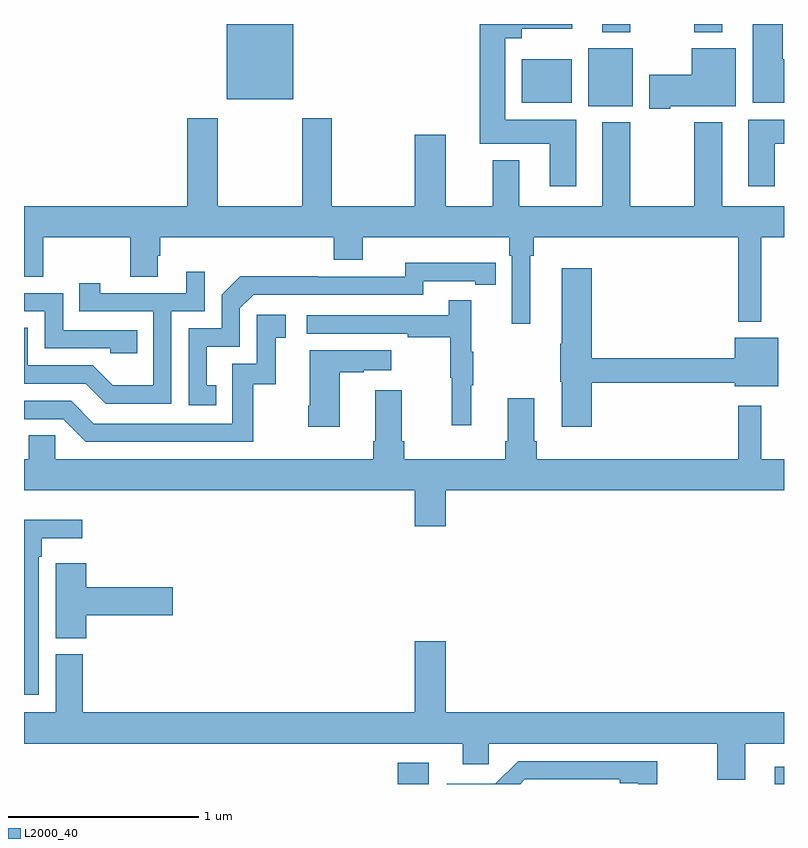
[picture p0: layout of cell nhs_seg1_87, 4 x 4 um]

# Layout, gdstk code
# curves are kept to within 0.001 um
import gdstk
lib = gdstk.Library(unit=1e-6, precision=1e-09)
def R(c, l, rs):  # rectangles x0, y0, x1, y1
    for r in rs: c.add(gdstk.rectangle(r[:2], r[2:], *l))
def P(c, l, *ps):  # polygons
    for p in ps: c.add(gdstk.Polygon(p, *l))
L2000_40 = (2000, 40)

nhs_seg1_87 = lib.new_cell('nhs_seg1_87')
R(nhs_seg1_87, L2000_40, [(116.966,538.199,117.13,538.312), (118.952,538.199,119,538.291), (117.971,541.766,118.204,542.071), (117.62,541.784,117.883,542.014), (116.066,541.802,116.416,542.199), (118.043,542.156,118.191,542.199), (118.528,542.156,118.675,542.199)])
P(nhs_seg1_87, L2000_40, [(117.907,541.696),(117.532,541.696),(117.532,542.123),(117.619,542.123),(117.619,542.174),(117.886,542.174),(117.886,542.199),(117.398,542.199),(117.398,541.568),(117.767,541.568),(117.767,541.344),(117.907,541.344)],
  [(119,542.014),(118.993,542.014),(118.993,542.199),(118.835,542.199),(118.835,541.784),(119,541.784)],
  [(118.402,541.766),(118.747,541.766),(118.747,542.071),(118.514,542.071),(118.514,541.932),(118.29,541.932),(118.29,541.754),(118.402,541.754)],
  [(117.664,540.98),(117.683,540.98),(117.683,541.076),(118.758,541.076),(118.758,540.632),(118.879,540.632),(118.879,541.076),(119,541.076),(119,541.24),(118.675,541.24),(118.675,541.681),(118.528,541.681),(118.528,541.24),(118.191,541.24),(118.191,541.681),(118.043,541.681),(118.043,541.24),(117.607,541.24),(117.607,541.483),(117.467,541.483),(117.467,541.24),(117.22,541.24),(117.22,541.615),(117.056,541.615),(117.056,541.24),(116.619,541.24),(116.619,541.702),(116.464,541.702),(116.464,541.24),(116.019,541.24),(116.019,541.702),(115.859,541.702),(115.859,541.24),(115,541.24),(115,540.868),(115.101,540.868),(115.101,541.076),(115.558,541.076),(115.558,540.868),(115.705,540.868),(115.705,540.978),(115.718,540.978),(115.718,541.076),(116.63,541.076),(116.63,540.959),(116.782,540.959),(116.782,541.076),(117.554,541.076),(117.554,540.98),(117.567,540.98),(117.567,540.621),(117.664,540.621)],
  [(118.951,541.568),(119,541.568),(119,541.696),(118.811,541.696),(118.811,541.344),(118.951,541.344)],
  [(116.012,540.297),(115.963,540.297),(115.963,540.501),(116.136,540.501),(116.136,540.702),(116.208,540.774),(117.102,540.774),(117.102,540.846),(117.374,540.846),(117.374,540.826),(117.482,540.826),(117.482,540.942),(117.006,540.943),(117.006,540.87),(116.546,540.87),(116.546,540.872),(116.138,540.872),(116.04,540.774),(116.04,540.597),(115.866,540.597),(115.866,540.192),(116.012,540.192)],
  [(117.989,540.312),(118.742,540.312),(118.742,540.293),(118.969,540.293),(118.969,540.547),(118.742,540.547),(118.742,540.44),(117.989,540.44),(117.989,540.913),(117.83,540.913),(117.83,540.517),(117.823,540.517),(117.823,540.317),(117.83,540.317),(117.83,540.078),(117.989,540.078)],
  [(115.776,540.687),(115.95,540.687),(115.95,540.895),(115.853,540.895),(115.853,540.783),(115.402,540.783),(115.402,540.835),(115.291,540.835),(115.291,540.687),(115.68,540.687),(115.68,540.298),(115.466,540.298),(115.362,540.402),(115.02,540.402),(115.02,540.601),(115,540.601),(115,540.306),(115.325,540.306),(115.43,540.201),(115.776,540.201)],
  [(115.595,540.588),(115.206,540.588),(115.206,540.783),(115,540.783),(115,540.687),(115.11,540.687),(115.11,540.492),(115.455,540.492),(115.455,540.465),(115.595,540.465)],
  [(117.353,540.299),(117.364,540.299),(117.364,540.473),(117.353,540.473),(117.353,540.745),(117.235,540.745),(117.235,540.666),(116.487,540.666),(116.487,540.57),(117.019,540.57),(117.019,540.55),(117.243,540.55),(117.243,540.336),(117.25,540.336),(117.25,540.087),(117.353,540.087)],
  [(116.206,540.303),(116.324,540.303),(116.324,540.549),(116.377,540.549),(116.377,540.67),(116.226,540.67),(116.226,540.411),(116.097,540.411),(116.097,540.096),(115.368,540.096),(115.248,540.216),(115,540.216),(115,540.12),(115.206,540.12),(115.326,540),(116.206,540)],
  [(116.662,540.367),(116.789,540.367),(116.789,540.377),(116.932,540.377),(116.932,540.481),(116.504,540.481),(116.504,540.19),(116.497,540.19),(116.497,540.078),(116.662,540.078)],
  [(117.22,539.744),(119,539.744),(119,539.908),(118.879,539.908),(118.879,540.19),(118.758,540.19),(118.758,539.908),(117.698,539.908),(117.698,540.004),(117.685,540.004),(117.685,540.229),(117.545,540.229),(117.545,540.004),(117.533,540.004),(117.533,539.908),(117.002,539.908),(117.002,540.004),(116.989,540.004),(116.989,540.271),(116.849,540.271),(116.849,540.004),(116.837,540.004),(116.837,539.908),(115.164,539.908),(115.164,540.035),(115.025,540.035),(115.025,539.908),(115,539.908),(115,539.744),(117.056,539.744),(117.056,539.556),(117.22,539.556)],
  [(115.077,539.396),(115.093,539.396),(115.093,539.492),(115.306,539.492),(115.306,539.59),(115,539.59),(115,538.67),(115.077,538.67)],
  [(115.328,539.087),(115.783,539.087),(115.783,539.234),(115.328,539.234),(115.328,539.362),(115.167,539.362),(115.167,539.249),(115.166,539.249),(115.166,538.966),(115.328,538.966)],
  [(118.795,538.412),(119,538.412),(119,538.576),(117.22,538.576),(117.22,538.951),(117.056,538.951),(117.056,538.576),(115.31,538.576),(115.31,538.881),(115.166,538.881),(115.166,538.576),(115,538.576),(115,538.412),(117.308,538.412),(117.308,538.302),(117.447,538.302),(117.447,538.412),(118.648,538.412),(118.648,538.222),(118.795,538.222)],
  [(117.636,538.224),(118.136,538.224),(118.136,538.204),(118.232,538.204),(118.232,538.199),(118.334,538.199),(118.334,538.32),(117.6,538.32),(117.48,538.2),(117.225,538.2),(117.225,538.199),(117.611,538.199)])

lib.write_gds('nhs_seg1_87.gds')
